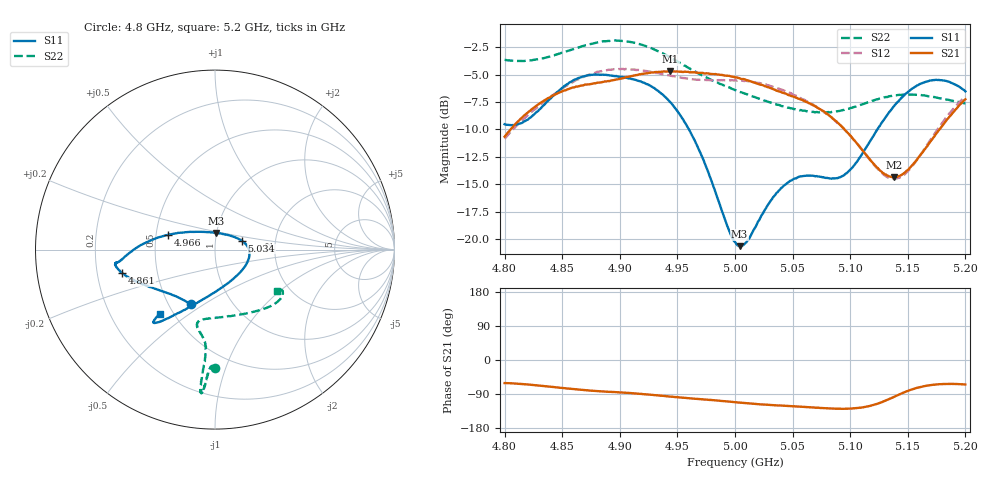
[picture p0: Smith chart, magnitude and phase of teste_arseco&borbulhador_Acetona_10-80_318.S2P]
! Network Analyzer HP8722D
! Hewlett-Packard
! Data name: Linha & Wilkinson
! Saver's name: Rodrigo Anjos
! Comments: Teste da utilização de aquisição
! continua pelo VNA HP8722D
! Time and date: 17/4/2025 17:00
!  Frequency  S11  S21  S12  S22
# HZ  S  MA R 50
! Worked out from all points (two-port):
!   401 points, 4.8 GHz to 5.2 GHz, reference 50 ohm
!   highest |S21| = -4.70 dB at 4.944 GHz (marker M1); lowest = -14.4 dB at 5.138 GHz (marker M2)
!   |S21| within 3 dB of the highest: 4.83 GHz to 5.066 GHz (236.3 MHz wide, 4.78 % of centre); 5.195669 GHz to end of sweep
!   lowest |S11| = -20.6 dB at 5.004 GHz (marker M3), VSWR 1.20, Z = 50 + j9.32 ohm
!   |S11| at or under -10 dB: 4.96 GHz to 5.124 GHz (163.6 MHz wide, 3.24 % of centre)
!   |S22| runs from -8.5 to -1.9 dB; largest |S21 - S12| = 0.87
!   S11 on the Smith chart (normalised r, x): 4.8 GHz: 0.64, -0.44; 4.861 GHz: 0.31, -0.11; 4.966 GHz: 0.58, +0.10; 5.034 GHz: 1.34, +0.14; 5.2 GHz: 0.42, -0.39
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4.8e9  0.334 -113.9  0.2929 -60.9  0.2867 -175.1  0.6569 -90.1
4.82e9  0.3497 -134.9  0.3766 -64.5  0.3666 -173.9  0.6509 -91.8
4.861e9  0.5335 -165.8  0.4928 -77.2  0.5269 -177.1  0.7374 -94.2
4.867e9  0.5482 -168.2  0.5013 -79.1  0.5456 -178.3  0.7563 -94.3
4.899e9  0.5499 -172.6  0.5362 -85.4  0.5956 175.2  0.8021 -95.4
4.934e9  0.4702 -178.4  0.5786 -93.7  0.57 171.7  0.7147 -95.9
4.944e9  0.4199 177.1  0.5823 -96.6  0.5552 171.6  0.6727 -95.7
4.966e9  0.2742 162.6  0.5743 -102.3  0.5341 173.5  0.5784 -95.2
5e9  0.09707 99.8  0.5461 -111.5  0.5296 175.9  0.4778 -99.2
5.004e9  0.09286 84.9  0.5414 -112.3  0.5273 175.9  0.4687 -100.1
5.011e9  0.09888 61.0  0.5291 -114.5  0.5247 175.8  0.4559 -101.7
5.034e9  0.157 18.5  0.4806 -119.3  0.4923 174.6  0.4137 -103.2
5.05e9  0.1868 2.5  0.4472 -122.1  0.4564 173.8  0.3937 -99.3
5.067e9  0.1946 -15.8  0.4097 -125.1  0.4126 173.5  0.3799 -90.3
5.096e9  0.1985 -66.5  0.3119 -128.6  0.3124 174.7  0.3902 -67.6
5.123e9  0.3127 -108.4  0.2124 -116.0  0.211 -170.6  0.4333 -48.5
5.134e9  0.3798 -117.3  0.193 -103.0  0.1899 -155.9  0.448 -43.0
5.138e9  0.4036 -119.5  0.1913 -97.2  0.1883 -149.6  0.4503 -41.3
5.151e9  0.4724 -125.1  0.209 -80.3  0.2065 -129.9  0.4561 -36.5
5.17e9  0.5283 -129.4  0.2795 -66.1  0.2852 -112.2  0.4464 -32.1
5.184e9  0.5244 -130.6  0.3509 -63.1  0.3617 -107.3  0.4324 -31.2
5.2e9  0.4714 -130.9  0.4339 -64.7  0.4466 -106.8  0.4153 -33.6
